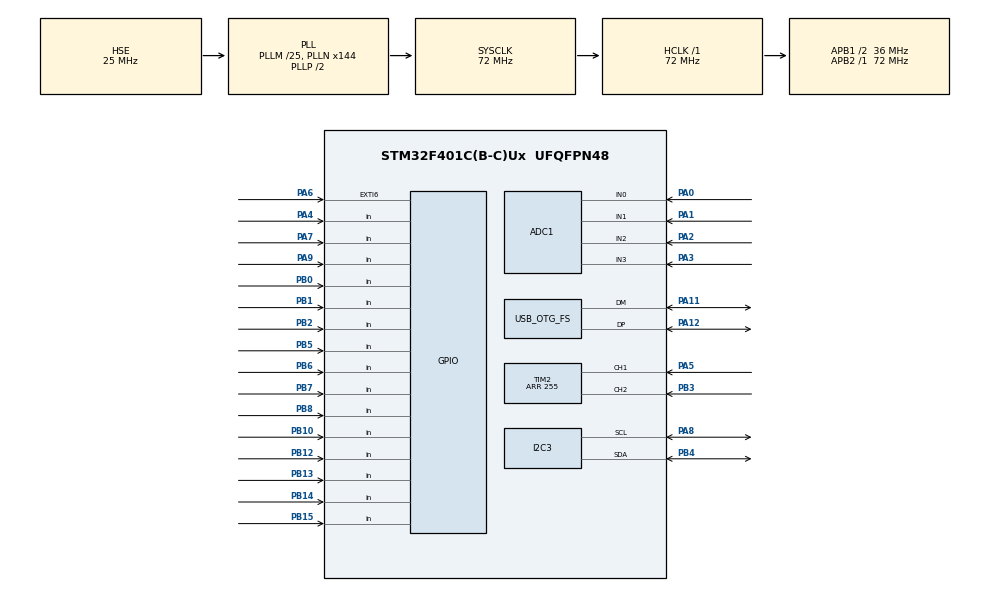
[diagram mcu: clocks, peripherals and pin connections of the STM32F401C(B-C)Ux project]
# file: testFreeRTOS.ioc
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ADC1.Channel-0\#ChannelRegularConversion=ADC_CHANNEL_0
ADC1.Channel-1\#ChannelRegularConversion=ADC_CHANNEL_1
ADC1.Channel-2\#ChannelRegularConversion=ADC_CHANNEL_2
ADC1.Channel-3\#ChannelRegularConversion=ADC_CHANNEL_3
ADC1.ContinuousConvMode=ENABLE
ADC1.NbrOfConversion=4
ADC1.NbrOfConversionFlag=1
ADC1.Rank-0\#ChannelRegularConversion=1
ADC1.Rank-1\#ChannelRegularConversion=2
ADC1.Rank-2\#ChannelRegularConversion=3
ADC1.Rank-3\#ChannelRegularConversion=4
ADC1.SamplingTime-0\#ChannelRegularConversion=ADC_SAMPLETIME_3CYCLES
ADC1.SamplingTime-1\#ChannelRegularConversion=ADC_SAMPLETIME_3CYCLES
ADC1.SamplingTime-2\#ChannelRegularConversion=ADC_SAMPLETIME_3CYCLES
ADC1.SamplingTime-3\#ChannelRegularConversion=ADC_SAMPLETIME_3CYCLES
ADC1.ScanConvMode=ENABLE
ADC1.master=1
FREERTOS.Tasks01=collectingTask,0,128,StartCollectingTask,Default,NULL,Dynamic,NULL,NULL;mouseTask,0,128,StrartMouseTask,Default,NULL,Dynamic,NULL,NULL;keyboardTask,0,128,StartKeyboardTask,Default,NULL,Dynamic,NULL,NULL;displayTask,0,128,StartDisplayTask,Default,NULL,Dynamic,NULL,NULL
I2C3.I2C_Mode=I2C_Fast
Mcu.Family=STM32F4
Mcu.Name=STM32F401C(B-C)Ux
Mcu.Package=UFQFPN48
NVIC.OTG_FS_IRQn=true\:5\:0\:false\:false\:true\:true\:false\:true\:true
NVIC.PriorityGroup=NVIC_PRIORITYGROUP_4
NVIC.TIM1_UP_TIM10_IRQn=true\:15\:0\:false\:false\:true\:false\:false\:true\:true
NVIC.TimeBase=TIM1_UP_TIM10_IRQn
NVIC.TimeBaseIP=TIM1
PA0-WKUP.Signal=ADCx_IN0
PA1.Signal=ADCx_IN1
PA11.Mode=Device_Only
PA11.Signal=USB_OTG_FS_DM
PA12.Mode=Device_Only
PA12.Signal=USB_OTG_FS_DP
PA2.Signal=ADCx_IN2
PA3.Signal=ADCx_IN3
PA4.Signal=GPIO_Input
PA5.Signal=S_TIM2_CH1_ETR
PA6.Signal=GPXTI6
PA7.Signal=GPIO_Input
PA8.Mode=I2C
PA8.Signal=I2C3_SCL
PA9.Signal=GPIO_Input
PB0.Signal=GPIO_Input
PB1.Signal=GPIO_Input
PB10.Signal=GPIO_Input
PB12.Signal=GPIO_Input
PB13.Signal=GPIO_Input
PB14.Signal=GPIO_Input
PB15.Signal=GPIO_Input
PB2.Signal=GPIO_Input
PB3.Signal=S_TIM2_CH2
PB4.Mode=I2C
PB4.Signal=I2C3_SDA
PB5.Signal=GPIO_Input
PB6.Signal=GPIO_Input
PB7.Signal=GPIO_Input
PB8.Signal=GPIO_Input
PH0\ -\ OSC_IN.Mode=HSE-External-Oscillator
PH0\ -\ OSC_IN.Signal=RCC_OSC_IN
PH1\ -\ OSC_OUT.Mode=HSE-External-Oscillator
PH1\ -\ OSC_OUT.Signal=RCC_OSC_OUT
ProjectManager.HeapSize=0x200
ProjectManager.StackSize=0x400
ProjectManager.TargetToolchain=STM32CubeIDE
RCC.48MHZClocksFreq_Value=48000000
RCC.AHBFreq_Value=72000000
RCC.APB1CLKDivider=RCC_HCLK_DIV2
RCC.APB1Freq_Value=36000000
RCC.APB1TimFreq_Value=72000000
RCC.APB2Freq_Value=72000000
RCC.APB2TimFreq_Value=72000000
RCC.CortexFreq_Value=72000000
RCC.HCLKFreq_Value=72000000
RCC.HSE_VALUE=25000000
RCC.HSI_VALUE=16000000
RCC.LSE_VALUE=32768
RCC.PLLM=25
RCC.PLLN=144
RCC.PLLQ=3
RCC.SYSCLKFreq_VALUE=72000000
RCC.SYSCLKSource=RCC_SYSCLKSOURCE_PLLCLK
RCC.VCOOutputFreq_Value=144000000
SH.ADCx_IN0.0=ADC1_IN0,IN0
SH.ADCx_IN1.0=ADC1_IN1,IN1
SH.ADCx_IN2.0=ADC1_IN2,IN2
SH.ADCx_IN3.0=ADC1_IN3,IN3
SH.S_TIM2_CH1_ETR.0=TIM2_CH1,Encoder_Interface
SH.S_TIM2_CH2.0=TIM2_CH2,Encoder_Interface
TIM2.AutoReloadPreload=TIM_AUTORELOAD_PRELOAD_DISABLE
TIM2.EncoderMode=TIM_ENCODERMODE_TI12
TIM2.Period=255
USB_DEVICE.CLASS_NAME_FS=CUSTOM_HID
USB_DEVICE.PRODUCT_STRING_CUSTOMHID_FS=STM32 GAMDPAD
USB_DEVICE.VirtualMode=CustomHid
USB_DEVICE.VirtualModeFS=Custom_Hid_FS
USB_OTG_FS.VirtualMode=Device_Only
VP_FREERTOS_VS_CMSIS_V1.Mode=CMSIS_V1
VP_SYS_VS_tim1.Mode=TIM1
VP_USB_DEVICE_VS_USB_DEVICE_CUSTOM_HID_FS.Mode=CUSTOM_HID_FS
board=custom

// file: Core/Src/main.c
/* USER CODE BEGIN Header */
/**
  ******************************************************************************
  * @file           : main.c
  * @brief          : Main program body
  ******************************************************************************
  * @attention
  *
  * Copyright (c) 2023 STMicroelectronics.
  * All rights reserved.
  *
  * This software is licensed under terms that can be found in the LICENSE file
  * in the root directory of this software component.
  * If no LICENSE file comes with this software, it is provided AS-IS.
  *
  ******************************************************************************
  */
/* USER CODE END Header */
#include "main.h"
#include "cmsis_os.h"
#include "usb_device.h"
#include <stdio.h>
#include <stdlib.h>

/* USER CODE BEGIN Includes */
#include "ssd1306.h"
#include "ssd1306_conf.h"
#include "ssd1306_fonts.h"
#include "ssd1306_tests.h"
/* USER CODE END Includes */

/* USER CODE BEGIN PTD */
typedef struct
{
  uint8_t  reportId;                                 // Report ID = 0x01 (1)
                                                     // Collection: CA:Keyboard
  uint8_t  KB_KeyboardKeyboardLeftControl : 1;       // Usage 0x000700E0: Keyboard Left Control, Value = 0 to 1
  uint8_t  KB_KeyboardKeyboardLeftShift : 1;         // Usage 0x000700E1: Keyboard Left Shift, Value = 0 to 1
  uint8_t  KB_KeyboardKeyboardLeftAlt : 1;           // Usage 0x000700E2: Keyboard Left Alt, Value = 0 to 1
  uint8_t  KB_KeyboardKeyboardLeftGui : 1;           // Usage 0x000700E3: Keyboard Left GUI, Value = 0 to 1
  uint8_t  KB_KeyboardKeyboardRightControl : 1;      // Usage 0x000700E4: Keyboard Right Control, Value = 0 to 1
  uint8_t  KB_KeyboardKeyboardRightShift : 1;        // Usage 0x000700E5: Keyboard Right Shift, Value = 0 to 1
  uint8_t  KB_KeyboardKeyboardRightAlt : 1;          // Usage 0x000700E6: Keyboard Right Alt, Value = 0 to 1
  uint8_t  KB_KeyboardKeyboardRightGui : 1;          // Usage 0x000700E7: Keyboard Right GUI, Value = 0 to 1
  uint8_t  pad_2;                                    // Pad
  uint8_t  Keyboard[6];                              // Value = 0 to 255
} keyboardReport_t;

typedef struct
{
  uint8_t  reportId;                                 // Report ID = 0x02 (2)
                                                     // Collection: CA:Mouse CP:Pointer
  uint8_t  BTN_MousePointerButton1 : 1;              // Usage 0x00090001: Button 1 Primary/trigger, Value = 0 to 1
  uint8_t  BTN_MousePointerButton2 : 1;              // Usage 0x00090002: Button 2 Secondary, Value = 0 to 1
  uint8_t  BTN_MousePointerButton3 : 1;              // Usage 0x00090003: Button 3 Tertiary, Value = 0 to 1
  uint8_t  : 5;                                      // Pad
  int8_t   GD_MousePointerX;                         // Usage 0x00010030: X, Value = -127 to 127
  int8_t   GD_MousePointerY;                         // Usage 0x00010031: Y, Value = -127 to 127
  int8_t   GD_MousePointerWheel;                     // Usage 0x00010038: Wheel, Value = -127 to 127
} mouseReport_t;

typedef struct
{
	uint8_t reportId;
	uint16_t buttons;
	int8_t left_x;
	int8_t left_y;
	int8_t right_x;
	int8_t right_y;
}gamepadReport_t;
GPIO_TypeDef* port[16] = {GPIOB, GPIOB, GPIOB, GPIOB, GPIOB, GPIOB, GPIOA, GPIOA, GPIOB, GPIOB, GPIOB, GPIOB, GPIOB, GPIOA, GPIOB, GPIOA};
uint16_t pin[16] = {GPIO_PIN_5, GPIO_PIN_6, GPIO_PIN_7, GPIO_PIN_8, GPIO_PIN_1, GPIO_PIN_0, GPIO_PIN_7, GPIO_PIN_6, GPIO_PIN_12, GPIO_PIN_13, GPIO_PIN_10, GPIO_PIN_2, GPIO_PIN_14, GPIO_PIN_4, GPIO_PIN_15, GPIO_PIN_9};
uint8_t keycode[16] = {0x04, 0x05, 0x06, 0x07, 0x08, 0x09, 0x0A, 0x0B, 0x0C, 0x0D, 0x0E, 0x0F, 0x10, 0x11, 0x12, 0x13};
/* USER CODE END PTD */

ADC_HandleTypeDef hadc1;

I2C_HandleTypeDef hi2c3;

TIM_HandleTypeDef htim2;

osThreadId collectingTaskHandle;
osThreadId mouseTaskHandle;
osThreadId keyboardTaskHandle;
osThreadId displayTaskHandle;
/* USER CODE BEGIN PV */

keyboardReport_t keyboard_report;
mouseReport_t mouse_report;
gamepadReport_t gamepad_report;

uint8_t lcd_buf_1[100];
uint8_t lcd_buf_2[100];

uint16_t adc_val_0, adc_val_1, adc_val_2, adc_val_3;

volatile uint8_t tim_count;
/* USER CODE END PV */

void SystemClock_Config(void);
static void MX_GPIO_Init(void);
static void MX_ADC1_Init(void);
static void MX_I2C3_Init(void);
static void MX_TIM2_Init(void);
void StartCollectingTask(void const * argument);
void StrartMouseTask(void const * argument);
void StartKeyboardTask(void const * argument);
void StartDisplayTask(void const * argument);

/* USER CODE BEGIN PFP */
extern USBD_HandleTypeDef hUsbDeviceFS;
void USBD_CUSTOM_HID_SendReport();
/* USER CODE END PFP */

/* USER CODE BEGIN 0 */
int getValueButShorter(int channel)
{
	int value = 0;
	ADC_ChannelConfTypeDef sConfig = {0};
	sConfig.Channel = channel;
	sConfig.Rank = 1;
	sConfig.SamplingTime = ADC_SAMPLETIME_3CYCLES;
	if (HAL_ADC_ConfigChannel(&hadc1, &sConfig) != HAL_OK)
	{
		Error_Handler();
	}
	HAL_ADC_Start(&hadc1);
	//HAL_Delay(10);
	HAL_ADC_PollForConversion(&hadc1, 10);
	value = HAL_ADC_GetValue(&hadc1);
	HAL_ADC_Stop(&hadc1);
	return value;
}
/* USER CODE END 0 */

int main(void)
{

  /* MCU Configuration--------------------------------------------------------*/

  /* Reset of all peripherals, Initializes the Flash interface and the Systick. */
  HAL_Init();

  /* Configure the system clock */
  SystemClock_Config();

  /* Initialize all configured peripherals */
  MX_GPIO_Init();
  MX_ADC1_Init();
  MX_I2C3_Init();
  MX_TIM2_Init();
  MX_USB_DEVICE_Init();
  ssd1306_Init();
  keyboard_report.reportId = 0x01;
  mouse_report.reportId = 0x02;
  gamepad_report.reportId = 0x03;

  /* Create the thread(s) */
  /* definition and creation of collectingTask */
  osThreadDef(collectingTask, StartCollectingTask, osPriorityNormal, 0, 128);
  collectingTaskHandle = osThreadCreate(osThread(collectingTask), NULL);

  /* definition and creation of mouseTask */
  osThreadDef(mouseTask, StrartMouseTask, osPriorityNormal, 0, 128);
  mouseTaskHandle = osThreadCreate(osThread(mouseTask), NULL);

  /* definition and creation of keyboardTask */
  osThreadDef(keyboardTask, StartKeyboardTask, osPriorityNormal, 0, 128);
  keyboardTaskHandle = osThreadCreate(osThread(keyboardTask), NULL);

  /* definition and creation of displayTask */
  osThreadDef(displayTask, StartDisplayTask, osPriorityNormal, 0, 128);
  displayTaskHandle = osThreadCreate(osThread(displayTask), NULL);

  /* Start scheduler */
  osKernelStart();
  /* We should never get here as control is now taken by the scheduler */
  /* Infinite loop */
  while (1)
  {

  }
}

void SystemClock_Config(void)
{
  RCC_OscInitTypeDef RCC_OscInitStruct = {0};
  RCC_ClkInitTypeDef RCC_ClkInitStruct = {0};

  /** Configure the main internal regulator output voltage
  */
  __HAL_RCC_PWR_CLK_ENABLE();
  __HAL_PWR_VOLTAGESCALING_CONFIG(PWR_REGULATOR_VOLTAGE_SCALE2);

  /** Initializes the RCC Oscillators according to the specified parameters
  * in the RCC_OscInitTypeDef structure.
  */
  RCC_OscInitStruct.OscillatorType = RCC_OSCILLATORTYPE_HSE;
  RCC_OscInitStruct.HSEState = RCC_HSE_ON;
  RCC_OscInitStruct.PLL.PLLState = RCC_PLL_ON;
  RCC_OscInitStruct.PLL.PLLSource = RCC_PLLSOURCE_HSE;
  RCC_OscInitStruct.PLL.PLLM = 25;
  RCC_OscInitStruct.PLL.PLLN = 144;
  RCC_OscInitStruct.PLL.PLLP = RCC_PLLP_DIV2;
  RCC_OscInitStruct.PLL.PLLQ = 3;
  if (HAL_RCC_OscConfig(&RCC_OscInitStruct) != HAL_OK)
  {
    Error_Handler();
  }

  /** Initializes the CPU, AHB and APB buses clocks
  */
  RCC_ClkInitStruct.ClockType = RCC_CLOCKTYPE_HCLK|RCC_CLOCKTYPE_SYSCLK
                              |RCC_CLOCKTYPE_PCLK1|RCC_CLOCKTYPE_PCLK2;
  RCC_ClkInitStruct.SYSCLKSource = RCC_SYSCLKSOURCE_PLLCLK;
  RCC_ClkInitStruct.AHBCLKDivider = RCC_SYSCLK_DIV1;
  RCC_ClkInitStruct.APB1CLKDivider = RCC_HCLK_DIV2;
  RCC_ClkInitStruct.APB2CLKDivider = RCC_HCLK_DIV1;

  if (HAL_RCC_ClockConfig(&RCC_ClkInitStruct, FLASH_LATENCY_2) != HAL_OK)
  {
    Error_Handler();
  }
}

static void MX_ADC1_Init(void)
{

  ADC_ChannelConfTypeDef sConfig = {0};

  /** Configure the global features of the ADC (Clock, Resolution, Data Alignment and number of conversion)
  */
  hadc1.Instance = ADC1;
  hadc1.Init.ClockPrescaler = ADC_CLOCK_SYNC_PCLK_DIV2;
  hadc1.Init.Resolution = ADC_RESOLUTION_12B;
  hadc1.Init.ScanConvMode = ENABLE;
  hadc1.Init.ContinuousConvMode = ENABLE;
  hadc1.Init.DiscontinuousConvMode = DISABLE;
  hadc1.Init.ExternalTrigConvEdge = ADC_EXTERNALTRIGCONVEDGE_NONE;
  hadc1.Init.ExternalTrigConv = ADC_SOFTWARE_START;
  hadc1.Init.DataAlign = ADC_DATAALIGN_RIGHT;
  hadc1.Init.NbrOfConversion = 4;
  hadc1.Init.DMAContinuousRequests = DISABLE;
  hadc1.Init.EOCSelection = ADC_EOC_SINGLE_CONV;
  if (HAL_ADC_Init(&hadc1) != HAL_OK)
  {
    Error_Handler();
  }

  /** Configure for the selected ADC regular channel its corresponding rank in the sequencer and its sample time.
  */
  sConfig.Channel = ADC_CHANNEL_0;
  sConfig.Rank = 1;
  sConfig.SamplingTime = ADC_SAMPLETIME_3CYCLES;
  if (HAL_ADC_ConfigChannel(&hadc1, &sConfig) != HAL_OK)
  {
    Error_Handler();
  }

  /** Configure for the selected ADC regular channel its corresponding rank in the sequencer and its sample time.
  */
  sConfig.Channel = ADC_CHANNEL_1;
  sConfig.Rank = 2;
  if (HAL_ADC_ConfigChannel(&hadc1, &sConfig) != HAL_OK)
  {
    Error_Handler();
  }

  /** Configure for the selected ADC regular channel its corresponding rank in the sequencer and its sample time.
  */
  sConfig.Channel = ADC_CHANNEL_2;
  sConfig.Rank = 3;
  if (HAL_ADC_ConfigChannel(&hadc1, &sConfig) != HAL_OK)
  {
    Error_Handler();
  }

  /** Configure for the selected ADC regular channel its corresponding rank in the sequencer and its sample time.
  */
  sConfig.Channel = ADC_CHANNEL_3;
  sConfig.Rank = 4;
  if (HAL_ADC_ConfigChannel(&hadc1, &sConfig) != HAL_OK)
  {
    Error_Handler();
  }

}

static void MX_I2C3_Init(void)
{

  hi2c3.Instance = I2C3;
  hi2c3.Init.ClockSpeed = 400000;
  hi2c3.Init.DutyCycle = I2C_DUTYCYCLE_2;
  hi2c3.Init.OwnAddress1 = 0;
  hi2c3.Init.AddressingMode = I2C_ADDRESSINGMODE_7BIT;
  hi2c3.Init.DualAddressMode = I2C_DUALADDRESS_DISABLE;
  hi2c3.Init.OwnAddress2 = 0;
  hi2c3.Init.GeneralCallMode = I2C_GENERALCALL_DISABLE;
  hi2c3.Init.NoStretchMode = I2C_NOSTRETCH_DISABLE;
  if (HAL_I2C_Init(&hi2c3) != HAL_OK)
  {
    Error_Handler();
  }

}

static void MX_TIM2_Init(void)
{

  TIM_Encoder_InitTypeDef sConfig = {0};
  TIM_MasterConfigTypeDef sMasterConfig = {0};

  htim2.Instance = TIM2;
  htim2.Init.Prescaler = 0;
  htim2.Init.CounterMode = TIM_COUNTERMODE_UP;
  htim2.Init.Period = 255;
  htim2.Init.ClockDivision = TIM_CLOCKDIVISION_DIV1;
  htim2.Init.AutoReloadPreload = TIM_AUTORELOAD_PRELOAD_DISABLE;
  sConfig.EncoderMode = TIM_ENCODERMODE_TI12;
  sConfig.IC1Polarity = TIM_ICPOLARITY_RISING;
  sConfig.IC1Selection = TIM_ICSELECTION_DIRECTTI;
  sConfig.IC1Prescaler = TIM_ICPSC_DIV1;
  sConfig.IC1Filter = 0;
  sConfig.IC2Polarity = TIM_ICPOLARITY_RISING;
  sConfig.IC2Selection = TIM_ICSELECTION_DIRECTTI;
  sConfig.IC2Prescaler = TIM_ICPSC_DIV1;
  sConfig.IC2Filter = 0;
  if (HAL_TIM_Encoder_Init(&htim2, &sConfig) != HAL_OK)
  {
    Error_Handler();
  }
  sMasterConfig.MasterOutputTrigger = TIM_TRGO_RESET;
  sMasterConfig.MasterSlaveMode = TIM_MASTERSLAVEMODE_DISABLE;
  if (HAL_TIMEx_MasterConfigSynchronization(&htim2, &sMasterConfig) != HAL_OK)
  {
    Error_Handler();
  }

}

static void MX_GPIO_Init(void)
{
  GPIO_InitTypeDef GPIO_InitStruct = {0};

  /* GPIO Ports Clock Enable */
  __HAL_RCC_GPIOH_CLK_ENABLE();
  __HAL_RCC_GPIOA_CLK_ENABLE();
  __HAL_RCC_GPIOB_CLK_ENABLE();

  /*Configure GPIO pins : PA4 PA7 PA9 */
  GPIO_InitStruct.Pin = GPIO_PIN_4|GPIO_PIN_7|GPIO_PIN_9;
  GPIO_InitStruct.Mode = GPIO_MODE_INPUT;
  GPIO_InitStruct.Pull = GPIO_NOPULL;
  HAL_GPIO_Init(GPIOA, &GPIO_InitStruct);

  /*Configure GPIO pin : PA6 */
  GPIO_InitStruct.Pin = GPIO_PIN_6;
  GPIO_InitStruct.Mode = GPIO_MODE_IT_RISING;
  GPIO_InitStruct.Pull = GPIO_NOPULL;
  HAL_GPIO_Init(GPIOA, &GPIO_InitStruct);

  /*Configure GPIO pins : PB0 PB1 PB2 PB10
                           PB12 PB13 PB14 PB15
                           PB5 PB6 PB7 PB8 */
  GPIO_InitStruct.Pin = GPIO_PIN_0|GPIO_PIN_1|GPIO_PIN_2|GPIO_PIN_10
                          |GPIO_PIN_12|GPIO_PIN_13|GPIO_PIN_14|GPIO_PIN_15
                          |GPIO_PIN_5|GPIO_PIN_6|GPIO_PIN_7|GPIO_PIN_8;
  GPIO_InitStruct.Mode = GPIO_MODE_INPUT;
  GPIO_InitStruct.Pull = GPIO_NOPULL;
  HAL_GPIO_Init(GPIOB, &GPIO_InitStruct);

}

void StartCollectingTask(void const * argument)
{
  /* init code for USB_DEVICE */
  /* USER CODE BEGIN 5 */
  /* Infinite loop */
  while(1)
  {
	  adc_val_0 = getValueButShorter(ADC_CHANNEL_0);
	  adc_val_1 = 2047;//getValueButShorter(ADC_CHANNEL_1);
	  adc_val_2 = getValueButShorter(ADC_CHANNEL_2);
	  adc_val_3 = getValueButShorter(ADC_CHANNEL_3);
	  //Xu ly va scale gia tri
	  mouse_report.GD_MousePointerX = (adc_val_0 - 2047)/120;
	  mouse_report.GD_MousePointerY = (adc_val_0 - 2047)/120;
	  if(adc_val_0 > 4000)
	  {
		  sprintf((char*)lcd_buf_2, "presased A and B");
		  keyboard_report.Keyboard[0] = keycode[0];
		  keyboard_report.Keyboard[1] = keycode[1];
  //		  for(int i = 0; i < 16; i++)
  //		  {
  //			  keyboard_report.Keyboard[i] = keycode[i];
  //		  }
	  }
	  else
	  {
		  sprintf((char*)lcd_buf_2, "pressed none");
		  keyboard_report.Keyboard[0] = 0x00;
		  keyboard_report.Keyboard[1] = 0x00;
	  }
	  sprintf((char*)lcd_buf_1, "%d   %d", adc_val_0, adc_val_1);
	  osDelay(1);
  }
  /* USER CODE END 5 */
}

void StartKeyboardTask(void const * argument)
{
  /* USER CODE BEGIN StartKeyboardTask */
  /* Infinite loop */
  while(1)
  {
	  USBD_CUSTOM_HID_SendReport(&hUsbDeviceFS,&keyboard_report, sizeof(keyboard_report));
	  osDelay(5);

  }
  /* USER CODE END StartKeyboardTask */
}
void StrartMouseTask(void const * argument)
{
  /* USER CODE BEGIN StrartMouseTask */
  /* Infinite loop */
  while(1)
  {
	  USBD_CUSTOM_HID_SendReport(&hUsbDeviceFS,&mouse_report, sizeof(mouse_report));
	  osDelay(5);
  }
  /* USER CODE END StrartMouseTask */
}

void StartDisplayTask(void const * argument)
{
  /* USER CODE BEGIN StartDisplayTask */
  /* Infinite loop */
  while(1)
  {
  	  ssd1306_Fill(Black);
  	  ssd1306_SetCursor(1, 15);
  	  ssd1306_WriteString((char*)lcd_buf_1, Font_6x8, White);
  	  ssd1306_SetCursor(1, 40);
  	  ssd1306_WriteString((char*)lcd_buf_2, Font_6x8, White);
  	  ssd1306_SetCursor(1, 55);
  	  ssd1306_WriteString("testss", Font_6x8, White);
	  ssd1306_UpdateScreen();
	  osDelay(1);
  }
  /* USER CODE END StartDisplayTask */
}

void HAL_TIM_PeriodElapsedCallback(TIM_HandleTypeDef *htim)
{
  if (htim->Instance == TIM1) {
    HAL_IncTick();
  }
}

void Error_Handler(void)
{
  __disable_irq();
  while (1)
  {
  }
}
